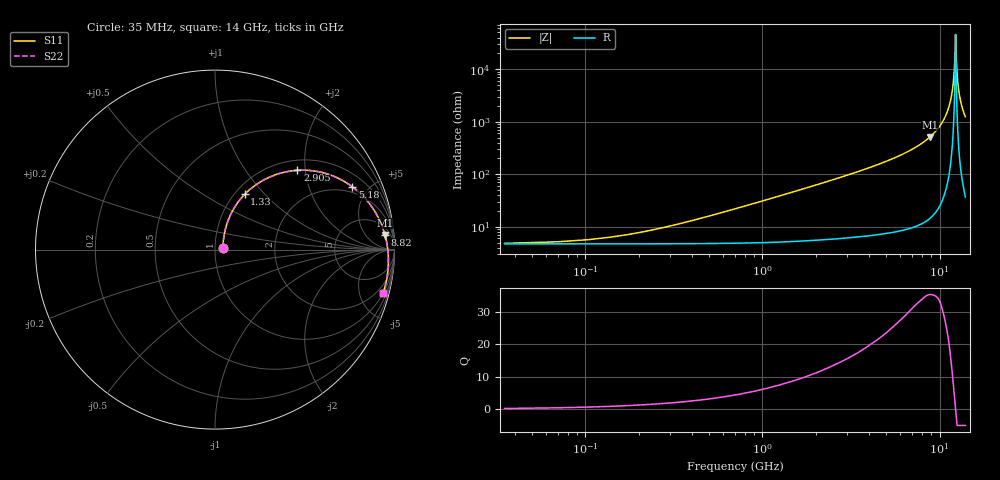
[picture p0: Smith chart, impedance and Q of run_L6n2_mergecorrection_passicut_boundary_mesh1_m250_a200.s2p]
#  Hz  S  RI  R  50
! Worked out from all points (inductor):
!   400 points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, 35 MHz to 14 GHz, reference 50 ohm
!   read as one part in series: L = 4.84 nH near 490 MHz
!   highest Q = 35.4 at 8.82 GHz (marker M1), where L = 9.19 nH
!   self-resonance near 12.32 GHz
!   S11 on the Smith chart (normalised r, x): 35 MHz: 1.09, +0.02; 1.33 GHz: 1.11, +0.78; 2.905 GHz: 1.22, +1.81; 5.18 GHz: 1.64, +3.94; 8.82 GHz: 10, +17; 14 GHz: 1.05, -7.83
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3.5e7  0.0441 0.00904  0.9539 -0.0104  0.9539 -0.0104  0.0441 0.00903
3.5e8  0.0525 0.0899  0.942 -0.1028  0.942 -0.1028  0.0525 0.0899
5.95e8  0.0689 0.1512  0.9206 -0.17  0.9206 -0.17  0.0689 0.1511
1.33e9  0.1656 0.3082  0.8146 -0.3328  0.8146 -0.3328  0.1656 0.3082
2.38e9  0.362 0.4249  0.615 -0.4595  0.615 -0.4595  0.3619 0.4248
2.905e9  0.4592 0.4419  0.5169 -0.4814  0.5169 -0.4814  0.4592 0.4418
4.69e9  0.7161 0.3823  0.2576 -0.4409  0.2576 -0.4409  0.7161 0.3822
5.18e9  0.7655 0.3501  0.2076 -0.4141  0.2076 -0.4141  0.7654 0.35
7.035e9  0.8903 0.2131  0.0805 -0.2976  0.0805 -0.2976  0.8902 0.2129
8.82e9  0.9469 0.082  0.0213 -0.1868  0.0213 -0.1868  0.9469 0.0819
9.345e9  0.9557 0.0453  0.0118 -0.1561  0.0118 -0.1561  0.9556 0.0451
1.0815e10  0.9662 -0.0524  -0.00119 -0.0753  -0.00119 -0.0753  0.9661 -0.0526
1.169e10  0.9644 -0.107  -0.00107 -0.0308  -0.00107 -0.0308  0.9643 -0.1072
1.1935e10  0.9631 -0.1218  -0.000118 -0.0188  -0.000118 -0.0188  0.963 -0.122
1.211e10  0.9618 -0.1323  0.000775 -0.0104  0.000775 -0.0104  0.9617 -0.1325
1.2215e10  0.961 -0.1386  0.00139 -0.0054  0.00139 -0.0054  0.9609 -0.1387
1.232e10  0.9601 -0.1448  0.00206 -0.000437  0.00206 -0.000437  0.96 -0.145
1.2495e10  0.9585 -0.155  0.00332 0.00777  0.00332 0.00776  0.9583 -0.1552
1.26e10  0.9574 -0.1611  0.00415 0.0126  0.00415 0.0126  0.9573 -0.1613
1.2775e10  0.9554 -0.1712  0.00568 0.0207  0.00568 0.0207  0.9553 -0.1714
1.3265e10  0.9492 -0.1989  0.011 0.0428  0.011 0.0428  0.9491 -0.1991
1.4e10  0.9374 -0.2392  0.021 0.0742  0.021 0.0742  0.9372 -0.2393
